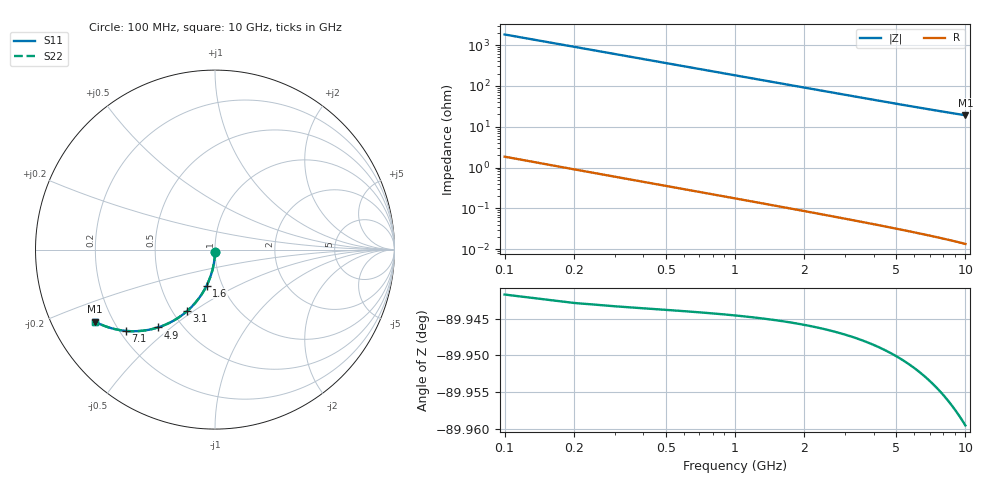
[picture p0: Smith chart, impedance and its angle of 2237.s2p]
# Hz S RI R 50.00
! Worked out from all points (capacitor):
!   100 points, 100 MHz to 10 GHz, reference 50 ohm
!   read as one part in shunt: C = 877 fF near 100 MHz
!   lowest |Z| = 19.1 ohm at 10 GHz (marker M1)
!   S11 on the Smith chart (normalised r, x): 100 MHz: 1.00, -0.03; 1.6 GHz: 0.84, -0.35; 3.1 GHz: 0.59, -0.47; 4.9 GHz: 0.37, -0.45; 7.1 GHz: 0.22, -0.37; 10 GHz: 0.13, -0.27
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1e8  -1.06e-05 -0.0131  0.9996 -0.0144  0.9996 -0.0144  -1.06e-05 -0.0131
2e8  -0.000591 -0.0262  0.999 -0.0288  0.999 -0.0288  -0.000591 -0.0262
3e8  -0.00155 -0.0393  0.9981 -0.0432  0.9981 -0.0432  -0.00155 -0.0393
4e8  -0.00288 -0.0524  0.9967 -0.0575  0.9967 -0.0575  -0.00288 -0.0524
5e8  -0.00459 -0.0654  0.995 -0.0718  0.995 -0.0718  -0.00459 -0.0654
6e8  -0.00666 -0.0783  0.9929 -0.086  0.9929 -0.086  -0.00666 -0.0783
7e8  -0.0091 -0.0911  0.9905 -0.1001  0.9905 -0.1001  -0.0091 -0.0911
9e8  -0.015 -0.1164  0.9845 -0.128  0.9845 -0.128  -0.015 -0.1164
1.2e9  -0.0266 -0.1533  0.9729 -0.1688  0.9729 -0.1688  -0.0266 -0.1533
1.6e9  -0.0464 -0.2002  0.953 -0.2208  0.953 -0.2208  -0.0464 -0.2002
1.8e9  -0.0581 -0.2224  0.9413 -0.2456  0.9413 -0.2456  -0.0581 -0.2224
2.4e9  -0.099 -0.2833  0.9001 -0.3143  0.9001 -0.3143  -0.099 -0.2833
3.1e9  -0.1554 -0.3423  0.8434 -0.3824  0.8434 -0.3824  -0.1554 -0.3423
3.4e9  -0.1815 -0.3635  0.8171 -0.4075  0.8171 -0.4075  -0.1815 -0.3635
4.1e9  -0.2446 -0.4033  0.7536 -0.4565  0.7536 -0.4565  -0.2446 -0.4033
4.9e9  -0.3174 -0.4335  0.6802 -0.4973  0.6802 -0.4973  -0.3174 -0.4335
5.1e9  -0.3353 -0.4388  0.6621 -0.5053  0.6621 -0.5053  -0.3353 -0.4388
5.9e9  -0.4045 -0.452  0.5921 -0.5292  0.5921 -0.5292  -0.4045 -0.452
6.7e9  -0.4685 -0.4546  0.5271 -0.5426  0.5271 -0.5426  -0.4685 -0.4546
7.1e9  -0.4983 -0.4527  0.4968 -0.5462  0.4968 -0.5462  -0.4983 -0.4527
8.4e9  -0.5844 -0.4359  0.4089 -0.5475  0.4089 -0.5475  -0.5844 -0.4359
1e10  -0.6691 -0.401  0.3214 -0.5355  0.3214 -0.5355  -0.6691 -0.401
